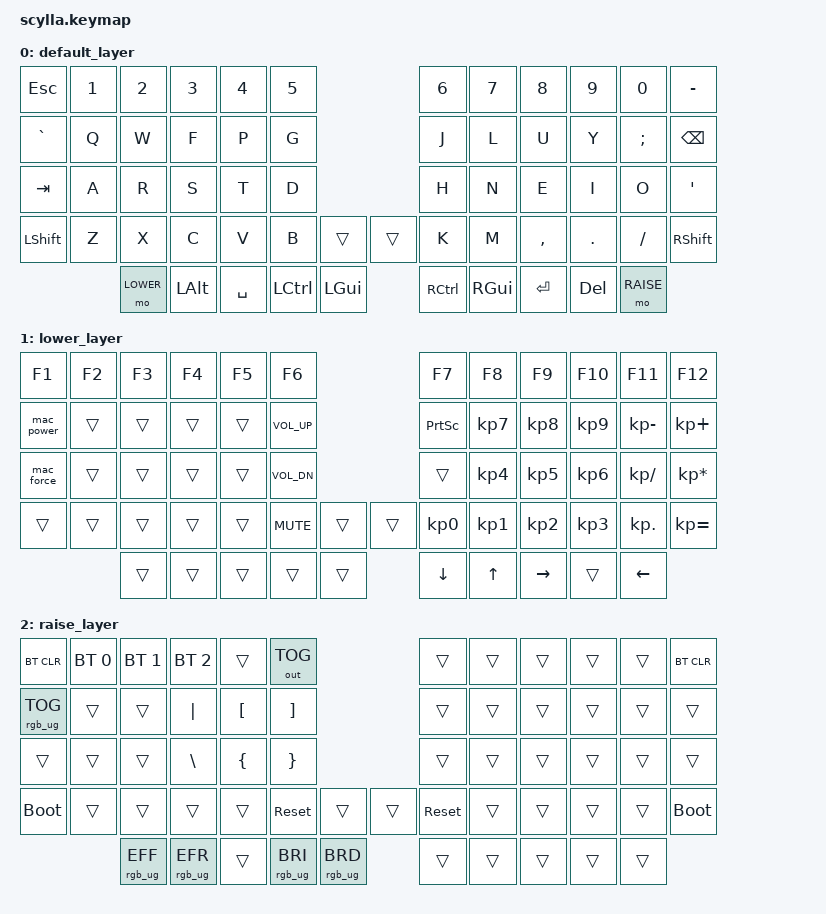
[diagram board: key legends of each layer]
#include <behaviors.dtsi>
#include <dt-bindings/zmk/keys.h>
#include <dt-bindings/zmk/bt.h>
#include <dt-bindings/zmk/outputs.h>
#include <dt-bindings/zmk/rgb.h>
#include <dt-bindings/zmk/ext_power.h>
#define DEFAULT 0
#define LOWER   1
#define RAISE   2

/ {
    macros {
        mac_power: mac_power {
            compatible = "zmk,behavior-macro";
            #binding-cells = <0>;
            bindings
                = <&macro_press &kp LCTRL>
                , <&macro_tap &kp C_PWR>
                , <&macro_release &kp LCTRL>
                ;
        };
        mac_force: mac_force {
            compatible = "zmk,behavior-macro";
            #binding-cells = <0>;
            bindings
                = <&macro_press &kp LCTRL &kp LCMD>
                , <&macro_tap &kp C_PWR>
                , <&macro_release &kp LCTRL &kp LCMD>
                ;
        };
    };
};

/ {
    keymap {
        compatible = "zmk,keymap";

        default_layer {
// ------------------------------------------------------------------------------------------------------------
// |  ESC  |  1  |  2  |  3   |  4   |  5   |                   |  6   |  7    |  8    |  9   |   0   |   -   |
// |  `    |  Q  |  W  |  F   |  P   |  G   |                   |  J   |  L    |  U    |  Y   |   ;   | BKSPC |
// |  TAB  |  A  |  R  |  S   |  T   |  D   |                   |  H   |  N    |  E    |  I   |   O   |   '   |
// | SHIFT |  Z  |  X  |  C   |  V   |  B   |        |  |       |  K   |  M    |  ,    |  .   |   /   | SHIFT |
//               |SPACE| CTRL | LOWER| GUI  | LALT   |  | DEL | RCTRL |  RAISE  | GUI   | ENTER |

            bindings = <
&kp ESC   &kp N1 &kp N2   &kp N3   &kp N4    &kp N5                      &kp N6 &kp N7    &kp N8    &kp N9   &kp N0   &kp MINUS
&kp GRAVE &kp Q  &kp W    &kp F    &kp P     &kp G                       &kp J  &kp L     &kp U     &kp Y    &kp SEMI &kp BSPC
&kp TAB   &kp A  &kp R    &kp S    &kp T     &kp D                       &kp H  &kp N     &kp E     &kp I    &kp O    &kp SQT
&kp LSHFT &kp Z  &kp X    &kp C    &kp V     &kp B  &trans     &trans    &kp K  &kp M     &kp COMMA &kp DOT  &kp FSLH &kp RSHFT
                 &mo LOWER &kp LALT &kp SPACE &kp LCTRL  &kp LGUI   &kp RCTRL &kp RGUI &kp RET &kp DEL &mo RAISE
            >;


        };
    
        lower_layer {
// ------------------------------------------------------------------------------------------------------------
// |  F1   |  F2 |  F3 |  F4  |  F5  |  F6  |                   |  F7  |  F8   |  F9   |  F10 |   F11 |  F12  |
// |Mac Pwr|     |     |      |      |  VUp |                   | PSCRN|  7    |  8    |  9   |   -   |   +   |
// |ForcePw|     |     |      |      |  VDN |                   |      |  4    |  5    |  6   |   /   |   *   |
// |       |     |     |      |      | Mute |        |  |       |  0   |  1    |  2    |  3   |   .   |   =   |
//               |     |      |      |      |       |  | LFT   | RGT  |  UP   | DEL    | DWN |

            bindings = <
&kp F1     &kp F2  &kp F3   &kp F4   &kp F5    &kp F6                      &kp F7      &kp F8      &kp F9      &kp F10     &kp F11       &kp F12
&mac_power &trans  &trans   &trans   &trans    &kp C_VOL_UP                &kp PSCRN   &kp KP_N7   &kp KP_N8   &kp KP_N9   &kp KP_MINUS  &kp KP_PLUS
&mac_force &trans  &trans   &trans   &trans    &kp C_VOL_DN                &trans      &kp KP_N4   &kp KP_N5   &kp KP_N6   &kp KP_SLASH  &kp KP_MULTIPLY
&trans     &trans  &trans   &trans   &trans    &kp C_MUTE  &trans  &trans  &kp KP_N0   &kp KP_N1   &kp KP_N2   &kp KP_N3   &kp KP_DOT    &kp KP_EQUAL
                 &trans &trans &trans &trans  &trans   &kp DOWN &kp UP &kp RIGHT &trans &kp LEFT
            >;


        };

        raise_layer {
// ------------------------------------------------------------------------------------------------------------
// | BTCLR | BT1 | BT2 | BT3  |      |  OUT |                   |      |       |       |      |       | BTCLR |
// |RGB TOG|     |     | PIPE | LBKT | RBKT |                   |      |       |       |      |       |       |
// |       |     |     | BSLH | LBRC | RBRC |                   |      |       |       |      |       |       |
// | BOOT  |     |     |      |      | RESET|        |  |       |RESET |       |       |      |       | BOOT  |
//     |     | RGB_BRI | RGB_EFF | RGB_BRD | RGB_EFR |  |      |       |       |      |

            bindings = <
&bt BT_CLR       &bt BT_SEL 0  &bt BT_SEL 1  &bt BT_SEL 2  &trans  &out OUT_TOG    &trans  &trans  &trans  &trans  &trans  &bt BT_CLR
&rgb_ug RGB_TOG  &trans  &trans   &kp PIPE &kp LBKT &kp RBKT             &trans      &trans      &trans      &trans      &trans      &trans
&trans           &trans  &trans   &kp BSLH &kp LBRC &kp RBRC             &trans      &trans      &trans      &trans      &trans      &trans
&bootloader      &trans  &trans   &trans   &trans    &sys_reset   &trans   &trans  &sys_reset      &trans      &trans      &trans      &trans      &bootloader
        &rgb_ug RGB_EFF &rgb_ug RGB_EFR  &trans  &rgb_ug RGB_BRI  &rgb_ug RGB_BRD            &trans &trans &trans &trans &trans
            >;


        };
    };
};
